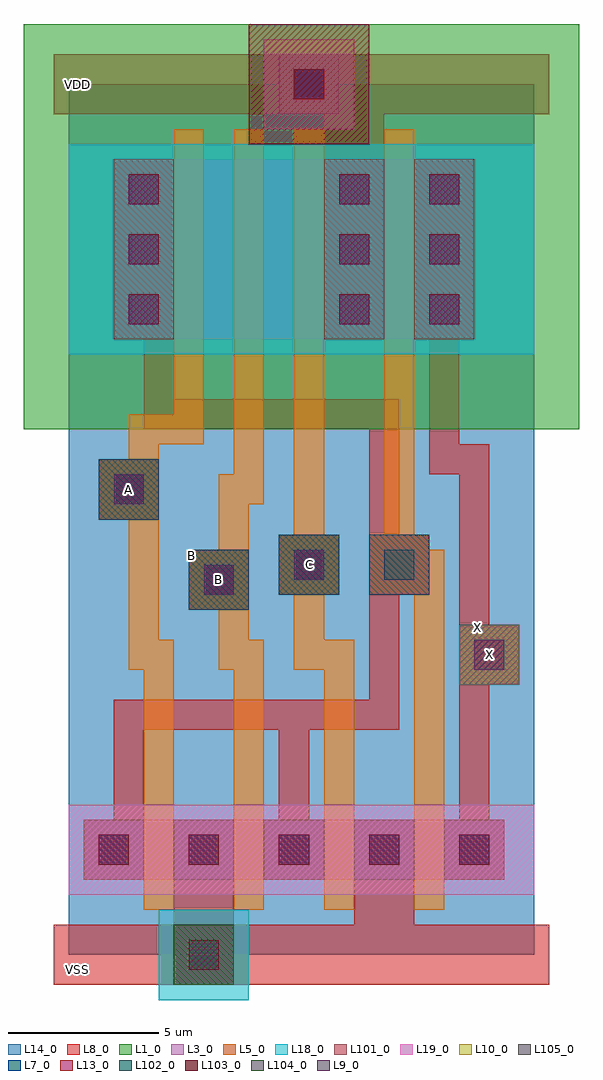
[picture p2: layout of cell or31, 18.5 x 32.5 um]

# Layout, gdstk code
import gdstk
lib = gdstk.Library(unit=1e-6, precision=1e-09)
def R(c, l, rs):  # rectangles x0, y0, x1, y1
    for r in rs: c.add(gdstk.rectangle(r[:2], r[2:], *l))
L1_0 = (1, 0)
L3_0 = (3, 0)
L5_0 = (5, 0)
L7_0 = (7, 0)
L8_0 = (8, 0)
L9_0 = (9, 0)
L10_0 = (10, 0)
L13_0 = (13, 0)
L14_0 = (14, 0)
L18_0 = (18, 0)
L19_0 = (19, 0)
L101_0 = (101, 0)
L102_0 = (102, 0)
L103_0 = (103, 0)
L104_0 = (104, 0)
L105_0 = (105, 0)

dcont = lib.new_cell('dcont')
R(dcont, L3_0, [(-1,-1,1,1)])
R(dcont, L7_0, [(-0.5,-0.5,0.5,0.5)])
R(dcont, L8_0, [(-1,-1,1,1)])
R(dcont, L13_0, [(-0.5,-0.5,0.5,0.5)])
R(dcont, L101_0, [(-1,-1,1,1)])
dcont.add(gdstk.Label('dcont', (0,0), layer=13, texttype=0))

pcont = lib.new_cell('pcont')
R(pcont, L5_0, [(-1,-1,1,1)])
R(pcont, L7_0, [(-0.5,-0.5,0.5,0.5)])
R(pcont, L8_0, [(-1,-1,1,1)])
R(pcont, L102_0, [(-1,-1,1,1)])
pcont.add(gdstk.Label('pcont', (0,0), layer=13, texttype=0))

psubcont = lib.new_cell('psubcont')
R(psubcont, L18_0, [(-1.5,-1.5,1.5,1.5)])
R(psubcont, L104_0, [(-1,-1,1,1)])
psubcont.add(gdstk.Reference(dcont, (0,0)))
psubcont.add(gdstk.Label('PScon', (0,0), layer=13, texttype=0))

nsubcont = lib.new_cell('nsubcont')
R(nsubcont, L1_0, [(-2,-2,2,2)])
R(nsubcont, L19_0, [(-1.5,-1.5,1.5,1.5)])
R(nsubcont, L103_0, [(-2,-2,2,2)])
nsubcont.add(gdstk.Reference(dcont, (0,0)))
nsubcont.add(gdstk.Label('NScont', (0,0), layer=13, texttype=0))

via = lib.new_cell('Via')
R(via, L8_0, [(-1,-1,1,1)])
R(via, L9_0, [(-0.5,-0.5,0.5,0.5)])
R(via, L10_0, [(-1,-1,1,1)])
R(via, L13_0, [(-0.5,-0.5,0.5,0.5)])
R(via, L105_0, [(-1,-1,1,1)])
via.add(gdstk.Label('via', (0,0), layer=13, texttype=0))

or31 = lib.new_cell('or31')
R(or31, L1_0, [(-1.5,17.5,17,31)])
R(or31, L3_0, [(0.5,2.5,8.5,4.5), (8.5,2.5,14.5,4.5), (1.5,20.5,13.5,26.5)])
R(or31, L8_0, [(-0.5,-1,16,1), (-0.5,-1,16,1), (13,9,15,11), (13,9,15,11), (4,11.5,6,13.5), (4,11.5,6,13.5), (7,12,9,14), (7,12,9,14), (1,14.5,3,16.5), (1,14.5,3,16.5), (-0.5,28,16,30), (-0.5,28,16,30)])
R(or31, L10_0, [(13,9,15,11), (13,9,15,11), (4,11.5,6,13.5), (4,11.5,6,13.5), (7,12,9,14), (7,12,9,14), (1,14.5,3,16.5), (1,14.5,3,16.5)])
R(or31, L14_0, [(0,0,15.5,29)])
R(or31, L18_0, [(0,20,15.5,27)])
R(or31, L19_0, [(0,2,15.5,5)])
R(or31, L105_0, [(13,9,15,11), (4,11.5,6,13.5), (7,12,9,14), (1,14.5,3,16.5)])
or31.add(gdstk.FlexPath([(12,2),(12,13),(11,13),(11,27)], 1, ends="extended", simple_path=True, layer=5, datatype=0))  # L5_0
or31.add(gdstk.FlexPath([(8,27),(8,10),(9,10),(9,2)], 1, ends="extended", simple_path=True, layer=5, datatype=0))  # L5_0
or31.add(gdstk.FlexPath([(6,27),(6,15.5),(5.5,15.5),(5.5,10),(6,10),(6,2)], 1, ends="extended", simple_path=True, layer=5, datatype=0))  # L5_0
or31.add(gdstk.FlexPath([(4,27),(4,17.5),(2.5,17.5),(2.5,10),(3,10),(3,2)], 1, ends="extended", simple_path=True, layer=5, datatype=0))  # L5_0
or31.add(gdstk.FlexPath([(2.5,22.3),(2.5,25.5)], 1.4, ends="extended", simple_path=True, layer=8, datatype=0))  # L8_0
or31.add(gdstk.FlexPath([(4.5,1),(4.5,3.5)], 2, ends="extended", simple_path=True, layer=8, datatype=0))  # L8_0
or31.add(gdstk.FlexPath([(3,20.5),(3,18),(10.5,18),(10.5,8),(2,8),(2,3.8)], 1, ends="extended", simple_path=True, layer=8, datatype=0))  # L8_0
or31.add(gdstk.FlexPath([(7.5,3.9),(7.5,8)], 1, ends="extended", simple_path=True, layer=8, datatype=0))  # L8_0
or31.add(gdstk.FlexPath([(9.5,21.5),(9.5,28.5)], 2, ends="extended", simple_path=True, layer=8, datatype=0))  # L8_0
or31.add(gdstk.FlexPath([(10.5,1),(10.5,3.5)], 2, ends="extended", simple_path=True, layer=8, datatype=0))  # L8_0
or31.add(gdstk.FlexPath([(12.5,22.3),(12.5,25.5)], 1.4, ends="extended", simple_path=True, layer=8, datatype=0))  # L8_0
or31.add(gdstk.FlexPath([(13.5,3.9),(13.5,16.5),(12.5,16.5),(12.5,20.5)], 1, ends="extended", simple_path=True, layer=8, datatype=0))  # L8_0
or31.add(gdstk.Reference(dcont, (13.5,3.5)))
or31.add(gdstk.Reference(dcont, (12.5,23.5)))
or31.add(gdstk.Reference(dcont, (9.5,23.5)))
or31.add(gdstk.Reference(pcont, (11,13)))
or31.add(gdstk.Reference(psubcont, (4.5,0)))
or31.add(gdstk.Reference(pcont, (5,12.5)))
or31.add(gdstk.Reference(dcont, (2.5,23.5)))
or31.add(gdstk.Reference(dcont, (12.5,25.5)))
or31.add(gdstk.Reference(dcont, (2.5,25.5)))
or31.add(gdstk.Reference(dcont, (10.5,3.5)))
or31.add(gdstk.Reference(nsubcont, (8,29)))
or31.add(gdstk.Reference(dcont, (4.5,3.5)))
or31.add(gdstk.Reference(via, (5,12.5)))
or31.add(gdstk.Reference(dcont, (2.5,21.5)))
or31.add(gdstk.Reference(pcont, (8,13)))
or31.add(gdstk.Reference(dcont, (12.5,21.5)))
or31.add(gdstk.Reference(via, (2,15.5)))
or31.add(gdstk.Reference(via, (14,10)))
or31.add(gdstk.Reference(dcont, (9.5,21.5)))
or31.add(gdstk.Reference(dcont, (7.5,3.5)))
or31.add(gdstk.Reference(via, (8,13)))
or31.add(gdstk.Reference(pcont, (2,15.5)))
or31.add(gdstk.Reference(dcont, (1.5,3.5)))
or31.add(gdstk.Reference(dcont, (9.5,25.5)))
or31.add(gdstk.Label('VSS', (0.3,-0.5), layer=8, texttype=0))
or31.add(gdstk.Label('VDD', (0.3,29), layer=8, texttype=0))
or31.add(gdstk.Label('B', (5,12.5), layer=10, texttype=0))
or31.add(gdstk.Label('C', (8,13), layer=10, texttype=0))
or31.add(gdstk.Label('A', (2,15.5), layer=10, texttype=0))
or31.add(gdstk.Label('X', (14,10), layer=10, texttype=0))
or31.add(gdstk.Label('via', (2,15.5), layer=13, texttype=0))
or31.add(gdstk.Label('via', (5,12.5), layer=13, texttype=0))
or31.add(gdstk.Label('via', (8,13), layer=13, texttype=0))
or31.add(gdstk.Label('via', (14,10), layer=13, texttype=0))
or31.add(gdstk.Label('X', (13.6,10.9), layer=13, texttype=0))
or31.add(gdstk.Label('B', (4.1,13.3), layer=13, texttype=0))

lib.write_gds('or31.gds')
